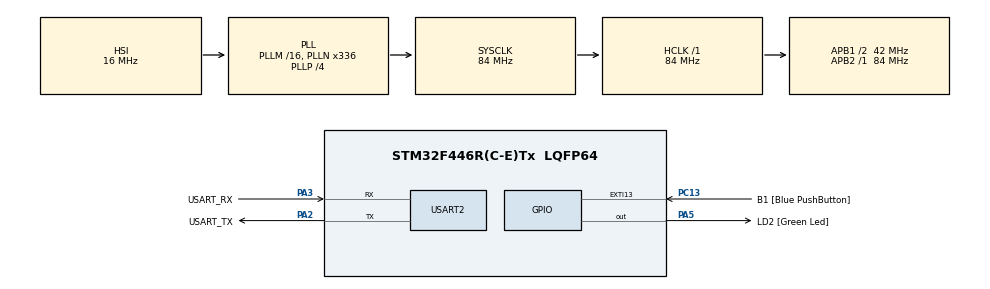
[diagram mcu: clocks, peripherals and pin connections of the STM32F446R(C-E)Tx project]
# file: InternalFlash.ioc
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Mcu.Family=STM32F4
Mcu.Name=STM32F446R(C-E)Tx
Mcu.Package=LQFP64
NVIC.PriorityGroup=NVIC_PRIORITYGROUP_0
PA13.GPIO_Label=TMS
PA13.Mode=Serial_Wire
PA13.Signal=SYS_JTMS-SWDIO
PA14.GPIO_Label=TCK
PA14.Mode=Serial_Wire
PA14.Signal=SYS_JTCK-SWCLK
PA2.GPIO_Label=USART_TX
PA2.Mode=Asynchronous
PA2.Signal=USART2_TX
PA3.GPIO_Label=USART_RX
PA3.Mode=Asynchronous
PA3.Signal=USART2_RX
PA5.GPIO_Label=LD2 [Green Led]
PA5.Signal=GPIO_Output
PB3.GPIO_Label=SWO
PB3.Signal=SYS_JTDO-SWO
PC13.GPIO_Label=B1 [Blue PushButton]
PC13.GPIO_ModeDefaultEXTI=GPIO_MODE_IT_FALLING
PC13.Signal=GPXTI13
PC14-OSC32_IN.Mode=LSE-External-Oscillator
PC14-OSC32_IN.Signal=RCC_OSC32_IN
PC15-OSC32_OUT.Mode=LSE-External-Oscillator
PC15-OSC32_OUT.Signal=RCC_OSC32_OUT
PH0-OSC_IN.Mode=HSE-External-Oscillator
PH0-OSC_IN.Signal=RCC_OSC_IN
PH1-OSC_OUT.Mode=HSE-External-Oscillator
PH1-OSC_OUT.Signal=RCC_OSC_OUT
ProjectManager.HeapSize=0x200
ProjectManager.StackSize=0x400
ProjectManager.TargetToolchain=STM32CubeIDE
RCC.48MHZClocksFreq_Value=84000000
RCC.AHBFreq_Value=84000000
RCC.APB1CLKDivider=RCC_HCLK_DIV2
RCC.APB1Freq_Value=42000000
RCC.APB1TimFreq_Value=84000000
RCC.APB2Freq_Value=84000000
RCC.APB2TimFreq_Value=84000000
RCC.CortexFreq_Value=84000000
RCC.FLatency-AdvancedSettings=FLASH_LATENCY_2
RCC.HCLKFreq_Value=84000000
RCC.HSE_VALUE=8000000
RCC.HSI_VALUE=16000000
RCC.PLLN=336
RCC.PLLP=RCC_PLLP_DIV4
RCC.SYSCLKFreq_VALUE=84000000
RCC.SYSCLKSource=RCC_SYSCLKSOURCE_PLLCLK
RCC.USBFreq_Value=168000000
RCC.VCOOutputFreq_Value=336000000
USART2.VirtualMode=VM_ASYNC
board=NUCLEO-F446RE

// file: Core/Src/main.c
/* USER CODE BEGIN Header */
/**
  ******************************************************************************
  * @file           : main.c
  * @brief          : Main program body
  ******************************************************************************
  * @attention
  *
  * Copyright (c) 2022 STMicroelectronics.
  * All rights reserved.
  *
  * This software is licensed under terms that can be found in the LICENSE file
  * in the root directory of this software component.
  * If no LICENSE file comes with this software, it is provided AS-IS.
  *
  ******************************************************************************
  */
/* USER CODE END Header */
#include "main.h"

/* USER CODE BEGIN Includes */
#include <stdio.h>
#include <stdbool.h>
#include <string.h>
#include "stm32f4xx_hal_flash.h"
/* USER CODE END Includes */

UART_HandleTypeDef huart2;

void SystemClock_Config(void);
static void MX_GPIO_Init(void);
static void MX_USART2_UART_Init(void);

int main(void)
{
  /* USER CODE BEGIN 1 */
//	char *dataFlash = "Balaji";
//	uint8_t len = strlen(dataFlash);
	uint8_t dataFlash[2][6] = { {'h','i'}, {'B','a','l','a','j','i'} };
//		uint8_t dataFlash[2][6] = { {'h','i'}, {'o','b','a','m','a','1'} };
	uint32_t StartPageAddress;
	uint32_t sectorError;
	bool check = 0;
  /* USER CODE END 1 */

  /* MCU Configuration--------------------------------------------------------*/

  /* Reset of all peripherals, Initializes the Flash interface and the Systick. */
  HAL_Init();

  /* Configure the system clock */
  SystemClock_Config();

  /* Initialize all configured peripherals */
  MX_GPIO_Init();
  MX_USART2_UART_Init();
  /* USER CODE BEGIN 2 */
  FLASH_EraseInitTypeDef eraseHandler;
  HAL_StatusTypeDef doesFuncRanRight = HAL_ERROR;
  uint32_t secError;
//  uint32_t eraseSector = 7;
  /* Erase type is sector erase */
  eraseHandler.TypeErase = FLASH_TYPEERASE_SECTORS;
  /* Start of sector erase */
  eraseHandler.Sector = 7;
  /* Number of sectors to erase */
  eraseHandler.NbSectors = 1;
  /* F446RE MCU has only one Flash Bank */
  eraseHandler.Banks = FLASH_BANK_1;
  /* sectorError variable */
//  uint32_t sectorError;
  /*Get access to touch the flash registers */
  HAL_FLASH_Unlock();
  eraseHandler.VoltageRange = FLASH_VOLTAGE_RANGE_3;  // our mcu will work on this voltage range
  doesFuncRanRight = (uint8_t) HAL_FLASHEx_Erase(&eraseHandler, &secError);
  if ( doesFuncRanRight == HAL_OK )
  {

  }
  else
  {
	  while(1){
		  //Do Nothing
	  }
  }
  HAL_FLASH_Lock();

  HAL_Delay(2000);
  /* Unlock the Flash to perform Read and Write  */
  HAL_FLASH_Unlock();
  StartPageAddress = 0x0807AAA8;
  for(int i =0;i<6;i++)
  {
  	  if (HAL_FLASH_Program(FLASH_TYPEPROGRAM_BYTE, StartPageAddress++,dataFlash[1][i]) == HAL_OK)
  	  {
//	  	  check = 1;
  	  }
  	  else
  	  {
	  	  /* Error occurred while writing data in Flash memory*/
//	  	  check = 0;
  		  break;
  	  }
//  	  len--;
  }
  /* Unlock the Flash to perform Read and Write  */
  HAL_FLASH_Lock();
  /*  */

  /* USER CODE END 2 */

  /* Infinite loop */
  while (1)
  {

  }
}

void SystemClock_Config(void)
{
  RCC_OscInitTypeDef RCC_OscInitStruct = {0};
  RCC_ClkInitTypeDef RCC_ClkInitStruct = {0};

  /** Configure the main internal regulator output voltage
  */
  __HAL_RCC_PWR_CLK_ENABLE();
  __HAL_PWR_VOLTAGESCALING_CONFIG(PWR_REGULATOR_VOLTAGE_SCALE3);
  /** Initializes the RCC Oscillators according to the specified parameters
  * in the RCC_OscInitTypeDef structure.
  */
  RCC_OscInitStruct.OscillatorType = RCC_OSCILLATORTYPE_HSI;
  RCC_OscInitStruct.HSIState = RCC_HSI_ON;
  RCC_OscInitStruct.HSICalibrationValue = RCC_HSICALIBRATION_DEFAULT;
  RCC_OscInitStruct.PLL.PLLState = RCC_PLL_ON;
  RCC_OscInitStruct.PLL.PLLSource = RCC_PLLSOURCE_HSI;
  RCC_OscInitStruct.PLL.PLLM = 16;
  RCC_OscInitStruct.PLL.PLLN = 336;
  RCC_OscInitStruct.PLL.PLLP = RCC_PLLP_DIV4;
  RCC_OscInitStruct.PLL.PLLQ = 2;
  RCC_OscInitStruct.PLL.PLLR = 2;
  if (HAL_RCC_OscConfig(&RCC_OscInitStruct) != HAL_OK)
  {
    Error_Handler();
  }
  /** Initializes the CPU, AHB and APB buses clocks
  */
  RCC_ClkInitStruct.ClockType = RCC_CLOCKTYPE_HCLK|RCC_CLOCKTYPE_SYSCLK
                              |RCC_CLOCKTYPE_PCLK1|RCC_CLOCKTYPE_PCLK2;
  RCC_ClkInitStruct.SYSCLKSource = RCC_SYSCLKSOURCE_PLLCLK;
  RCC_ClkInitStruct.AHBCLKDivider = RCC_SYSCLK_DIV1;
  RCC_ClkInitStruct.APB1CLKDivider = RCC_HCLK_DIV2;
  RCC_ClkInitStruct.APB2CLKDivider = RCC_HCLK_DIV1;

  if (HAL_RCC_ClockConfig(&RCC_ClkInitStruct, FLASH_LATENCY_2) != HAL_OK)
  {
    Error_Handler();
  }
}

static void MX_USART2_UART_Init(void)
{

  huart2.Instance = USART2;
  huart2.Init.BaudRate = 115200;
  huart2.Init.WordLength = UART_WORDLENGTH_8B;
  huart2.Init.StopBits = UART_STOPBITS_1;
  huart2.Init.Parity = UART_PARITY_NONE;
  huart2.Init.Mode = UART_MODE_TX_RX;
  huart2.Init.HwFlowCtl = UART_HWCONTROL_NONE;
  huart2.Init.OverSampling = UART_OVERSAMPLING_16;
  if (HAL_UART_Init(&huart2) != HAL_OK)
  {
    Error_Handler();
  }

}

static void MX_GPIO_Init(void)
{
  GPIO_InitTypeDef GPIO_InitStruct = {0};

  /* GPIO Ports Clock Enable */
  __HAL_RCC_GPIOC_CLK_ENABLE();
  __HAL_RCC_GPIOH_CLK_ENABLE();
  __HAL_RCC_GPIOA_CLK_ENABLE();
  __HAL_RCC_GPIOB_CLK_ENABLE();

  /*Configure GPIO pin Output Level */
  HAL_GPIO_WritePin(LD2_GPIO_Port, LD2_Pin, GPIO_PIN_RESET);

  /*Configure GPIO pin : B1_Pin */
  GPIO_InitStruct.Pin = B1_Pin;
  GPIO_InitStruct.Mode = GPIO_MODE_IT_FALLING;
  GPIO_InitStruct.Pull = GPIO_NOPULL;
  HAL_GPIO_Init(B1_GPIO_Port, &GPIO_InitStruct);

  /*Configure GPIO pin : LD2_Pin */
  GPIO_InitStruct.Pin = LD2_Pin;
  GPIO_InitStruct.Mode = GPIO_MODE_OUTPUT_PP;
  GPIO_InitStruct.Pull = GPIO_NOPULL;
  GPIO_InitStruct.Speed = GPIO_SPEED_FREQ_LOW;
  HAL_GPIO_Init(LD2_GPIO_Port, &GPIO_InitStruct);

}

void Error_Handler(void)
{
  __disable_irq();
  while (1)
  {
  }
}
